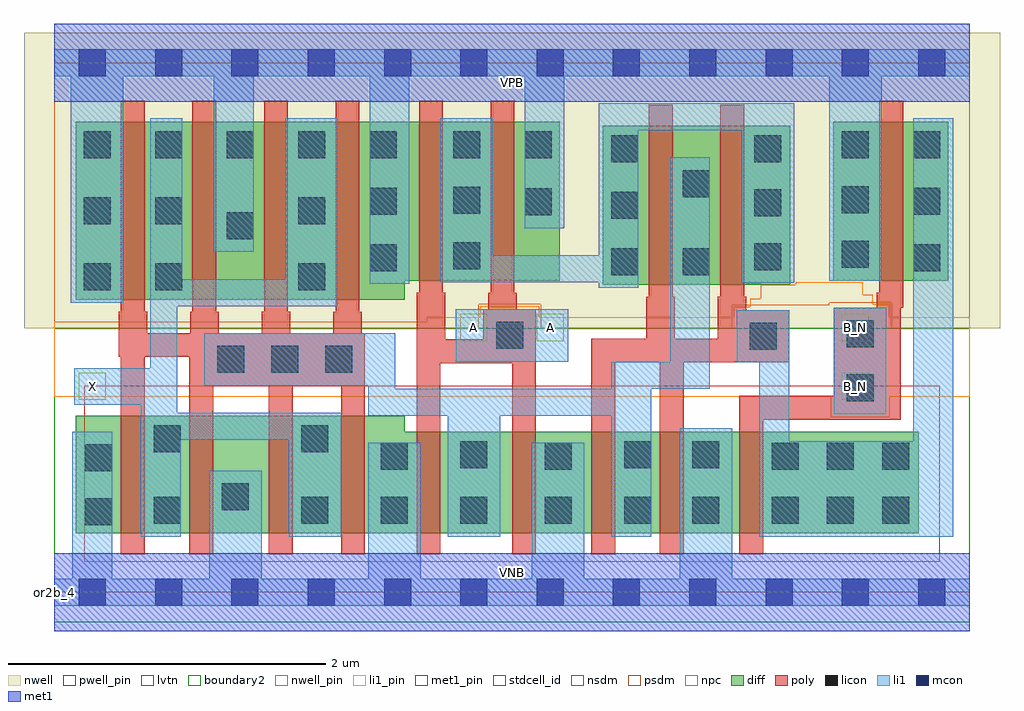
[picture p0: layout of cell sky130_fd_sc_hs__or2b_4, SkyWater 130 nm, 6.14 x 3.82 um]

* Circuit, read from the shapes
.subckt sky130_fd_sc_hs__or2b_4 A B_N VGND VNB VPB VPWR X
XM1 X n1 VGND VNB sky130_fd_pr__nfet_01v8_lvt w=0.74 l=0.15 m=4
XM2 n1 A VGND VNB sky130_fd_pr__nfet_01v8_lvt w=0.64 l=0.15 m=2
XM3 n1 n2 VGND VNB sky130_fd_pr__nfet_01v8_lvt w=0.64 l=0.15 m=2
XM4 n2 B_N VGND VNB sky130_fd_pr__nfet_01v8_lvt w=0.64 l=0.15
XM5 X n1 VPWR VPB sky130_fd_pr__pfet_01v8 w=1.12 l=0.15 m=4
XM6 n3 A VPWR VPB sky130_fd_pr__pfet_01v8 w=1 l=0.15 m=2
XM7 n1 n2 n3 VPB sky130_fd_pr__pfet_01v8 w=1 l=0.15 m=2
XM8 n2 B_N VPWR VPB sky130_fd_pr__pfet_01v8 w=1 l=0.15
.ends

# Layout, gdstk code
import gdstk
lib = gdstk.Library(unit=1e-6, precision=1e-09)
def R(c, l, rs):  # rectangles x0, y0, x1, y1
    for r in rs: c.add(gdstk.rectangle(r[:2], r[2:], *l))
def A(c, l, x, y, w, h, nx, ny, dx, dy):  # array of equal rectangles
    R(c, l, [(x+i*dx, y+j*dy, x+i*dx+w, y+j*dy+h) for i in range(nx) for j in range(ny)])
def P(c, l, *ps):  # polygons
    for p in ps: c.add(gdstk.Polygon(p, *l))
nwell_pin = (64, 16)
nwell = (64, 20)
diff = (65, 20)
poly = (66, 20)
licon = (66, 44)
li1_pin = (67, 16)
li1 = (67, 20)
mcon = (67, 44)
met1_pin = (68, 16)
met1 = (68, 20)
stdcell_id = (81, 4)
nsdm = (93, 44)
psdm = (94, 20)
npc = (95, 20)
pwell_pin = (122, 16)
lvtn = (125, 44)
boundary2 = (236, 0)

sky130_fd_sc_hs__or2b_4 = lib.new_cell('sky130_fd_sc_hs__or2b_4')
R(sky130_fd_sc_hs__or2b_4, nwell_pin, [(0,3.085,5.76,3.33)])
R(sky130_fd_sc_hs__or2b_4, nwell, [(-0.19,1.66,5.95,3.52)])
R(sky130_fd_sc_hs__or2b_4, diff, [(3.45,1.935,4.63,2.935), (4.9,1.96,5.625,2.96)])
P(sky130_fd_sc_hs__or2b_4, diff, [(3.18,2.96),(0.135,2.96),(0.135,1.84),(2.205,1.84),(2.205,1.96),(3.18,1.96)],
  [(5.44,1.01),(2.205,1.01),(2.205,1.11),(0.135,1.11),(0.135,0.37),(5.44,0.37)])
P(sky130_fd_sc_hs__or2b_4, poly, [(1.955,1.63),(1.935,1.63),(1.935,1.765),(1.92,1.765),(1.92,3.09),(1.77,3.09),(1.77,1.765),(1.755,1.765),(1.755,1.63),(1.485,1.63),(1.485,1.765),(1.47,1.765),(1.47,3.09),(1.32,3.09),(1.32,1.765),(1.305,1.765),(1.305,1.63),(1.035,1.63),(1.035,1.765),(1.02,1.765),(1.02,3.09),(0.87,3.09),(0.87,1.765),(0.855,1.765),(0.855,1.63),(0.585,1.63),(0.585,1.765),(0.57,1.765),(0.57,3.09),(0.42,3.09),(0.42,1.765),(0.405,1.765),(0.405,1.48),(0.42,1.48),(0.42,0.24),(0.57,0.24),(0.57,1.48),(0.85,1.48),(0.85,0.24),(1,0.24),(1,1.3),(1.35,1.3),(1.35,0.24),(1.5,0.24),(1.5,1.3),(1.805,1.3),(1.805,0.24),(1.955,0.24)],
  [(5.34,3.09),(5.19,3.09),(5.19,1.885),(5.175,1.885),(5.175,1.79),(4.905,1.79),(4.905,1.235),(4.31,1.235),(4.31,0.24),(4.46,0.24),(4.46,1.085),(5.325,1.085),(5.325,1.79),(5.34,1.79)],
  [(4.625,1.775),(4.355,1.775),(4.355,1.86),(4.34,1.86),(4.34,3.065),(4.19,3.065),(4.19,1.86),(4.175,1.86),(4.175,1.595),(3.905,1.595),(3.905,1.86),(3.89,1.86),(3.89,3.065),(3.74,3.065),(3.74,1.86),(3.725,1.86),(3.725,1.595),(3.38,1.595),(3.38,0.24),(3.53,0.24),(3.53,1.445),(3.81,1.445),(3.81,0.24),(3.96,0.24),(3.96,1.445),(4.625,1.445)],
  [(3.03,1.78),(2.91,1.78),(2.91,1.885),(2.895,1.885),(2.895,3.09),(2.745,3.09),(2.745,1.885),(2.73,1.885),(2.73,1.78),(2.7,1.78),(2.7,1.59),(2.46,1.59),(2.46,1.885),(2.445,1.885),(2.445,3.09),(2.295,3.09),(2.295,1.885),(2.28,1.885),(2.28,0.24),(2.43,0.24),(2.43,1.44),(2.88,1.44),(2.88,0.24),(3.03,0.24)])
A(sky130_fd_sc_hs__or2b_4, licon, 1.555, 0.43, 0.17, 0.17, 3, 1, 0.5, 0)
A(sky130_fd_sc_hs__or2b_4, licon, 1.025, 1.38, 0.17, 0.17, 3, 1, 0.34, 0)
A(sky130_fd_sc_hs__or2b_4, licon, 3.505, 1.995, 0.17, 0.17, 1, 3, 0, 0.355)
A(sky130_fd_sc_hs__or2b_4, licon, 5.405, 2.02, 0.17, 0.17, 1, 3, 0, 0.355)
A(sky130_fd_sc_hs__or2b_4, licon, 4.405, 2.025, 0.17, 0.17, 1, 3, 0, 0.34)
A(sky130_fd_sc_hs__or2b_4, licon, 2.51, 2.03, 0.17, 0.17, 1, 3, 0, 0.35)
A(sky130_fd_sc_hs__or2b_4, licon, 4.955, 2.04, 0.17, 0.17, 1, 3, 0, 0.345)
A(sky130_fd_sc_hs__or2b_4, licon, 0.185, 2.73, 0.17, 0.17, 5, 1, 0.45, 0)
R(sky130_fd_sc_hs__or2b_4, licon, [(0.195,0.42,0.365,0.59), (0.625,0.43,0.795,0.6), (3.085,0.43,3.255,0.6), (3.585,0.43,3.755,0.6), (4.015,0.43,4.185,0.6), (4.515,0.43,4.685,0.6), (4.86,0.43,5.03,0.6), (5.21,0.43,5.38,0.6), (1.055,0.515,1.225,0.685), (0.195,0.76,0.365,0.93), (2.055,0.77,2.225,0.94), (3.085,0.77,3.255,0.94), (4.515,0.77,4.685,0.94), (4.86,0.77,5.03,0.94), (5.21,0.77,5.38,0.94), (2.555,0.78,2.725,0.95), (3.585,0.78,3.755,0.95), (4.015,0.78,4.185,0.95), (0.625,0.88,0.795,1.05), (1.555,0.88,1.725,1.05), (4.985,1.2,5.155,1.37), (4.375,1.525,4.545,1.695), (2.78,1.53,2.95,1.7), (4.985,1.54,5.155,1.71), (0.185,1.9,0.355,2.07), (0.635,1.9,0.805,2.07), (1.535,1.9,1.705,2.07), (3.955,1.995,4.125,2.165), (1.985,2.02,2.155,2.19), (1.085,2.22,1.255,2.39), (0.185,2.315,0.355,2.485), (0.635,2.315,0.805,2.485), (1.535,2.315,1.705,2.485), (2.96,2.37,3.13,2.54), (1.985,2.375,2.155,2.545), (3.955,2.485,4.125,2.655), (2.96,2.73,3.13,2.9)])
R(sky130_fd_sc_hs__or2b_4, li1_pin, [(0.155,1.21,0.325,1.38), (4.955,1.21,5.125,1.38), (2.555,1.58,2.725,1.75), (3.035,1.58,3.205,1.75), (4.955,1.58,5.125,1.75)])
R(sky130_fd_sc_hs__or2b_4, li1, [(4.905,1.12,5.235,1.79), (2.525,1.45,3.235,1.78)])
P(sky130_fd_sc_hs__or2b_4, li1, [(0,-0.085),(0,0.085),(0.115,0.085),(0.115,1.01),(0.365,1.01),(0.365,0.085),(0.975,0.085),(0.975,0.765),(1.305,0.765),(1.305,0.085),(1.975,0.085),(1.975,0.94),(2.305,0.94),(2.305,0.085),(3.005,0.085),(3.005,0.94),(3.335,0.94),(3.335,0.085),(3.935,0.085),(3.935,1.03),(4.265,1.03),(4.265,0.085),(5.76,0.085),(5.76,-0.085)],
  [(0,3.245),(0,3.415),(5.76,3.415),(5.76,3.245),(5.205,3.245),(5.205,1.96),(4.875,1.96),(4.875,3.245),(3.21,3.245),(3.21,2.29),(2.96,2.29),(2.96,3.245),(2.235,3.245),(2.235,1.94),(1.985,1.94),(1.985,3.245),(1.255,3.245),(1.255,2.14),(1.005,2.14),(1.005,3.245),(0.435,3.245),(0.435,1.82),(0.105,1.82),(0.105,3.245)],
  [(5.405,0.95),(5.405,2.98),(5.655,2.98),(5.655,0.35),(4.435,0.35),(4.435,1.445),(4.295,1.445),(4.295,1.775),(4.625,1.775),(4.625,0.95)],
  [(4.325,2.905),(3.675,2.905),(3.675,1.915),(3.425,1.915),(3.425,1.95),(2.43,1.95),(2.43,2.98),(2.76,2.98),(2.76,2.12),(3.425,2.12),(3.425,3.075),(4.655,3.075),(4.655,1.945),(4.325,1.945)],
  [(0.125,1.18),(0.125,1.41),(0.605,1.41),(0.605,2.98),(0.805,2.98),(0.805,1.97),(1.455,1.97),(1.455,2.98),(1.785,2.98),(1.785,1.8),(0.775,1.8),(0.775,1.13),(1.805,1.13),(1.805,0.35),(1.475,0.35),(1.475,0.96),(0.795,0.96),(0.795,0.35),(0.545,0.35),(0.545,1.18)],
  [(3.505,1.45),(3.875,1.45),(3.875,2.735),(4.125,2.735),(4.125,1.28),(3.755,1.28),(3.755,0.35),(3.505,0.35),(3.505,1.11),(2.805,1.11),(2.805,0.35),(2.475,0.35),(2.475,1.11),(1.975,1.11),(1.975,1.3),(0.945,1.3),(0.945,1.63),(2.145,1.63),(2.145,1.28),(3.505,1.28)])
A(sky130_fd_sc_hs__or2b_4, mcon, 0.155, -0.085, 0.17, 0.17, 12, 2, 0.48, 3.33)
R(sky130_fd_sc_hs__or2b_4, met1_pin, [(0,0,5.76,0.245), (0,3.085,5.76,3.33)])
R(sky130_fd_sc_hs__or2b_4, met1, [(0,-0.245,5.76,0.245), (0,3.085,5.76,3.575)])
R(sky130_fd_sc_hs__or2b_4, stdcell_id, [(0,0,5.76,3.33)])
R(sky130_fd_sc_hs__or2b_4, nsdm, [(0,-0.19,5.76,1.66)])
P(sky130_fd_sc_hs__or2b_4, psdm, [(5.76,3.52),(0,3.52),(0,1.66),(2.67,1.66),(2.67,1.81),(3.06,1.81),(3.06,1.66),(4.265,1.66),(4.265,1.805),(4.875,1.805),(4.875,1.82),(5.265,1.82),(5.265,1.66),(5.76,1.66)])
P(sky130_fd_sc_hs__or2b_4, npc, [(5.76,1.73),(5.255,1.73),(5.255,1.81),(5.15,1.81),(5.15,1.87),(5.085,1.87),(5.085,1.95),(4.665,1.95),(4.665,1.935),(4.445,1.935),(4.445,1.845),(4.38,1.845),(4.38,1.795),(4.275,1.795),(4.275,1.73),(3.05,1.73),(3.05,1.8),(2.68,1.8),(2.68,1.73),(2.345,1.73),(2.345,1.7),(0,1.7),(0,1.23),(4.885,1.23),(4.885,1.1),(5.255,1.1),(5.255,1.23),(5.76,1.23)])
R(sky130_fd_sc_hs__or2b_4, pwell_pin, [(0,0,5.76,0.245)])
R(sky130_fd_sc_hs__or2b_4, lvtn, [(0.19,0.19,5.57,1.3)])
R(sky130_fd_sc_hs__or2b_4, boundary2, [(0,0,5.76,3.33)])
sky130_fd_sc_hs__or2b_4.add(gdstk.Label('or2b_4', (0,0), layer=83, texttype=44))
sky130_fd_sc_hs__or2b_4.add(gdstk.Label('VNB', (2.88,0.123), layer=64, texttype=59))
sky130_fd_sc_hs__or2b_4.add(gdstk.Label('VPB', (2.88,3.208), layer=64, texttype=5))
sky130_fd_sc_hs__or2b_4.add(gdstk.Label('VPWR', (2.88,3.208), layer=68, texttype=5))
sky130_fd_sc_hs__or2b_4.add(gdstk.Label('VGND', (2.88,0.123), layer=68, texttype=5))
sky130_fd_sc_hs__or2b_4.add(gdstk.Label('A', (2.64,1.665), layer=67, texttype=5))
sky130_fd_sc_hs__or2b_4.add(gdstk.Label('A', (3.12,1.665), layer=67, texttype=5))
sky130_fd_sc_hs__or2b_4.add(gdstk.Label('B_N', (5.04,1.295), layer=67, texttype=5))
sky130_fd_sc_hs__or2b_4.add(gdstk.Label('B_N', (5.04,1.665), layer=67, texttype=5))
sky130_fd_sc_hs__or2b_4.add(gdstk.Label('X', (0.24,1.295), layer=67, texttype=5))

lib.write_gds('sky130_fd_sc_hs__or2b_4.gds')
